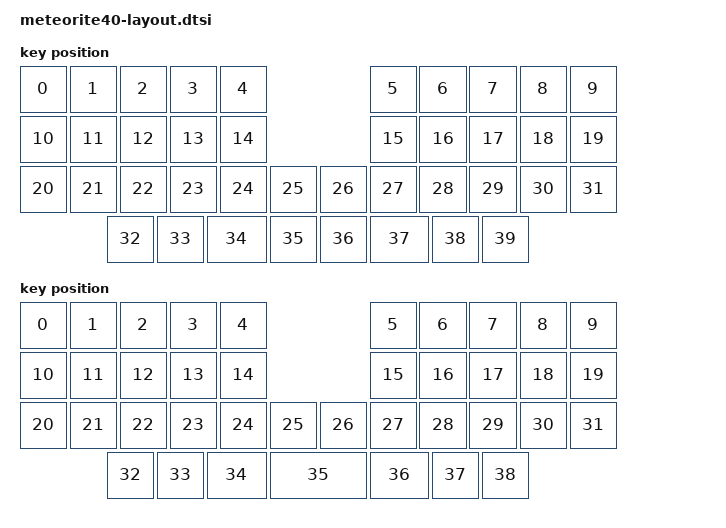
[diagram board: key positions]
#include <physical_layouts.dtsi>

/ {
    LAYOUT_SPLIT_SPACE: layout_split_space {
        compatible = "zmk,physical-layout";
        display-name = "Split Space";

        keys //                  w    h   x     y  rot rx ry 
            = 
            // 1段目 左5
            <&key_physical_attrs 100 100    0    0  0  0  0>,
            <&key_physical_attrs 100 100  100    0  0  0  0>,
            <&key_physical_attrs 100 100  200    0  0  0  0>,
            <&key_physical_attrs 100 100  300    0  0  0  0>,
            <&key_physical_attrs 100 100  400    0  0  0  0>,
            // 1段目 右5
            <&key_physical_attrs 100 100  700    0  0  0  0>,
            <&key_physical_attrs 100 100  800    0  0  0  0>,
            <&key_physical_attrs 100 100  900    0  0  0  0>,
            <&key_physical_attrs 100 100 1000    0  0  0  0>,
            <&key_physical_attrs 100 100 1100    0  0  0  0>,

            // 2段目 左5
            <&key_physical_attrs 100 100    0  100  0  0  0>,
            <&key_physical_attrs 100 100  100  100  0  0  0>,
            <&key_physical_attrs 100 100  200  100  0  0  0>,
            <&key_physical_attrs 100 100  300  100  0  0  0>,
            <&key_physical_attrs 100 100  400  100  0  0  0>,
            // 2段目 右5
            <&key_physical_attrs 100 100  700  100  0  0  0>,
            <&key_physical_attrs 100 100  800  100  0  0  0>,
            <&key_physical_attrs 100 100  900  100  0  0  0>,
            <&key_physical_attrs 100 100 1000  100  0  0  0>,
            <&key_physical_attrs 100 100 1100  100  0  0  0>,

            // 3段目 中央12
            <&key_physical_attrs 100 100    0  200  0  0  0>,
            <&key_physical_attrs 100 100  100  200  0  0  0>,
            <&key_physical_attrs 100 100  200  200  0  0  0>,
            <&key_physical_attrs 100 100  300  200  0  0  0>,
            <&key_physical_attrs 100 100  400  200  0  0  0>,
            <&key_physical_attrs 100 100  500  200  0  0  0>,
            <&key_physical_attrs 100 100  600  200  0  0  0>,
            <&key_physical_attrs 100 100  700  200  0  0  0>,
            <&key_physical_attrs 100 100  800  200  0  0  0>,
            <&key_physical_attrs 100 100  900  200  0  0  0>,
            <&key_physical_attrs 100 100 1000  200  0  0  0>,
            <&key_physical_attrs 100 100 1100  200  0  0  0>,

            // 4段目
            <&key_physical_attrs 100 100  175  300  0  0  0>,
            <&key_physical_attrs 100 100  275  300  0  0  0>,
            <&key_physical_attrs 125 100  375  300  0  0  0>,
            <&key_physical_attrs 100 100  500  300  0  0  0>,
            <&key_physical_attrs 100 100  600  300  0  0  0>,
            <&key_physical_attrs 125 100  700  300  0  0  0>,
            <&key_physical_attrs 100 100  825  300  0  0  0>,
            <&key_physical_attrs 100 100  925  300  0  0  0>
        ;
    };

    LAYOUT_2U_SPACE: layout_2u_space {
        compatible = "zmk,physical-layout";
        display-name = "2U Space";

        keys //                  w    h   x     y  rot rx ry 
            = 
            // 1段目 左5
            <&key_physical_attrs 100 100    0    0  0  0  0>,
            <&key_physical_attrs 100 100  100    0  0  0  0>,
            <&key_physical_attrs 100 100  200    0  0  0  0>,
            <&key_physical_attrs 100 100  300    0  0  0  0>,
            <&key_physical_attrs 100 100  400    0  0  0  0>,
            // 1段目 右5
            <&key_physical_attrs 100 100  700    0  0  0  0>,
            <&key_physical_attrs 100 100  800    0  0  0  0>,
            <&key_physical_attrs 100 100  900    0  0  0  0>,
            <&key_physical_attrs 100 100 1000    0  0  0  0>,
            <&key_physical_attrs 100 100 1100    0  0  0  0>,

            // 2段目 左5
            <&key_physical_attrs 100 100    0  100  0  0  0>,
            <&key_physical_attrs 100 100  100  100  0  0  0>,
            <&key_physical_attrs 100 100  200  100  0  0  0>,
            <&key_physical_attrs 100 100  300  100  0  0  0>,
            <&key_physical_attrs 100 100  400  100  0  0  0>,
            // 2段目 右5
            <&key_physical_attrs 100 100  700  100  0  0  0>,
            <&key_physical_attrs 100 100  800  100  0  0  0>,
            <&key_physical_attrs 100 100  900  100  0  0  0>,
            <&key_physical_attrs 100 100 1000  100  0  0  0>,
            <&key_physical_attrs 100 100 1100  100  0  0  0>,

            // 3段目 中央12
            <&key_physical_attrs 100 100    0  200  0  0  0>,
            <&key_physical_attrs 100 100  100  200  0  0  0>,
            <&key_physical_attrs 100 100  200  200  0  0  0>,
            <&key_physical_attrs 100 100  300  200  0  0  0>,
            <&key_physical_attrs 100 100  400  200  0  0  0>,
            <&key_physical_attrs 100 100  500  200  0  0  0>,
            <&key_physical_attrs 100 100  600  200  0  0  0>,
            <&key_physical_attrs 100 100  700  200  0  0  0>,
            <&key_physical_attrs 100 100  800  200  0  0  0>,
            <&key_physical_attrs 100 100  900  200  0  0  0>,
            <&key_physical_attrs 100 100 1000  200  0  0  0>,
            <&key_physical_attrs 100 100 1100  200  0  0  0>,

            // 4段目
            <&key_physical_attrs 100 100  175  300  0  0  0>,
            <&key_physical_attrs 100 100  275  300  0  0  0>,
            <&key_physical_attrs 125 100  375  300  0  0  0>,
            <&key_physical_attrs 200 100  500  300  0  0  0>,
            //<&key_physical_attrs 100 100  600  300  0  0  0>,
            <&key_physical_attrs 125 100  700  300  0  0  0>,
            <&key_physical_attrs 100 100  825  300  0  0  0>,
            <&key_physical_attrs 100 100  925  300  0  0  0>
        ;
    };

    position_map {
        compatible = "zmk,physical-layout-position-map";

        split_space_map {
            physical-layout = &layout_split_space;
            positions = < 32 33 34 35 36 37 38 39 >;
        };

        2u_space_map {
            physical-layout = &layout_2u_space;
            positions = < 32 33 34  35  37 38 39 >;
        };
    };
};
